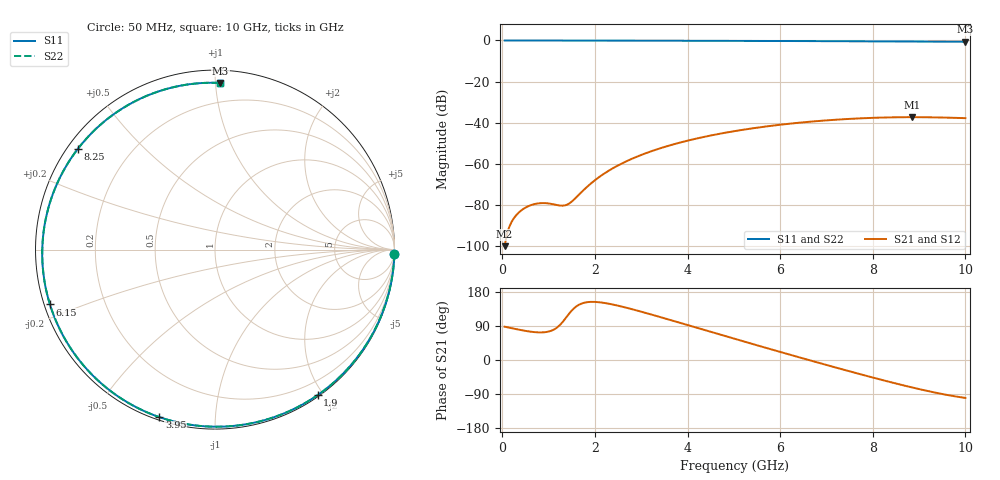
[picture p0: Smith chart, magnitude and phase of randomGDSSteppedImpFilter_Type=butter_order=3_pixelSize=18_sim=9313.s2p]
! freq	dB(S11)	phase(S11)	dB(S12)	phase(S12)
!  dB(S21)	phase(S21)	dB(S22)	phase(S22)
!S-par simulation data
#  GHz  S  DB  R 50
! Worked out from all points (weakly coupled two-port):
!   200 points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, 50 MHz to 10 GHz, reference 50 ohm
!   highest |S21| = -37.37 dB at 8.85 GHz (marker M1); lowest = -100.2 dB at 50 MHz (marker M2)
!   lowest |S11| = -0.6 dB at 10 GHz (marker M3), VSWR 27.11, Z = 3.81 + j51.5 ohm
!   |S11| at or under -10 dB: nowhere
!   |S22| runs from -0.6 to 0.0 dB; largest |S21 - S12| = 0
!   S11 on the Smith chart (normalised r, x): 50 MHz: 1, -78; 1.9 GHz: 0.02, -1.93; 3.95 GHz: 0.01, -0.72; 6.15 GHz: 0.02, -0.16; 8.25 GHz: 0.03, +0.33; 10 GHz: 0.08, +1.03
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0.05  -0.00 -1.5  -100.22 87.9  -100.22 87.9  -0.00 -1.5
0.7  -0.03 -20.6  -79.69 73.5  -79.69 73.5  -0.03 -20.6
0.9  -0.03 -26.5  -79.23 73.2  -79.23 73.2  -0.04 -26.5
1.4  -0.05 -40.8  -79.98 115.5  -79.98 115.5  -0.05 -40.8
1.5  -0.06 -43.6  -78.50 130.6  -78.50 130.6  -0.06 -43.6
1.75  -0.06 -50.7  -73.02 150.5  -73.02 150.5  -0.06 -50.7
1.9  -0.07 -54.8  -69.93 153.3  -69.93 153.3  -0.07 -54.8
2.2  -0.08 -63.1  -64.86 150.6  -64.86 150.6  -0.08 -63.1
2.55  -0.09 -72.5  -60.29 141.9  -60.29 141.9  -0.09 -72.5
2.95  -0.10 -83.0  -56.22 129.2  -56.22 129.2  -0.10 -83.0
3.4  -0.12 -94.6  -52.60 113.7  -52.60 113.7  -0.12 -94.6
3.95  -0.14 -108.4  -49.10 94.1  -49.10 94.1  -0.14 -108.4
5.05  -0.20 -135.1  -44.04 54.8  -44.04 54.8  -0.20 -135.1
5.6  -0.23 -148.3  -42.19 35.3  -42.19 35.3  -0.23 -148.3
6.15  -0.27 -161.6  -40.68 16.1  -40.68 16.1  -0.27 -161.6
6.7  -0.32 -175.2  -39.47 -2.9  -39.47 -2.9  -0.32 -175.2
7.5  -0.39 164.3  -38.20 -29.9  -38.20 -29.9  -0.39 164.3
8.25  -0.46 143.6  -37.53 -54.3  -37.53 -54.3  -0.46 143.6
8.35  -0.47 140.8  -37.48 -57.4  -37.48 -57.4  -0.47 140.8
8.85  -0.52 125.9  -37.37 -72.5  -37.37 -72.5  -0.52 125.8
9.45  -0.58 106.8  -37.52 -88.6  -37.52 -88.6  -0.58 106.8
10  -0.64 88.1  -37.84 -100.2  -37.84 -100.2  -0.64 88.1
